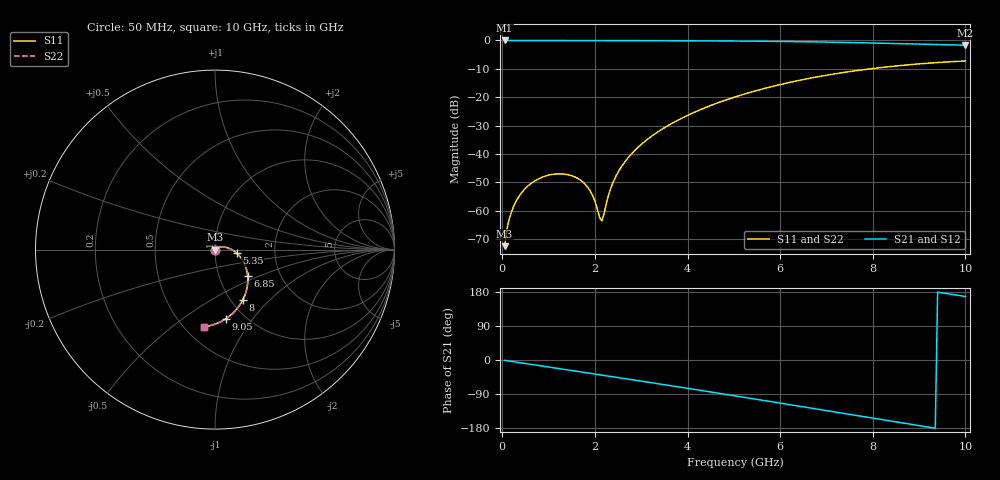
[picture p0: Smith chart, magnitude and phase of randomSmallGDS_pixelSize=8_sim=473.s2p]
! freq	dB(S11)	phase(S11)	dB(S12)	phase(S12)
!  dB(S21)	phase(S21)	dB(S22)	phase(S22)
!S-par simulation data
#  GHz  S  DB  R 50
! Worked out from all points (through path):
!   200 points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, 50 MHz to 10 GHz, reference 50 ohm
!   highest |S21| = 0.00 dB at 50 MHz (marker M1); lowest = -1.7 dB at 10 GHz (marker M2)
!   group delay of S21, straight-line fit = 53.8 ps
!   lowest |S11| = -72.5 dB at 50 MHz (marker M3), VSWR 1.00, Z = 50 - j0.0232 ohm
!   |S11| at or under -10 dB: start of sweep to 7.944 GHz
!   |S22| runs from -72.5 to -7.2 dB; largest |S21 - S12| = 0
!   S11 on the Smith chart (normalised r, x): 50 MHz: 1.00, -0.00; 5.35 GHz: 1.27, -0.05; 6.85 GHz: 1.37, -0.42; 8 GHz: 1.13, -0.71; 9.05 GHz: 0.82, -0.75; 10 GHz: 0.62, -0.65
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0.05  -72.49 -78.2  -0.00 -0.9  -0.00 -0.9  -72.50 -78.1
0.1  -66.52 -83.5  -0.00 -1.9  -0.00 -1.9  -66.52 -83.4
0.15  -62.91 -85.4  -0.00 -2.8  -0.00 -2.8  -62.91 -85.3
0.25  -58.27 -87.9  -0.00 -4.7  -0.00 -4.7  -58.26 -87.8
0.6  -50.65 -97.0  -0.01 -11.2  -0.01 -11.2  -50.65 -96.9
1.2  -47.01 -112.2  -0.03 -22.2  -0.03 -22.2  -47.01 -112.0
1.75  -50.03 -128.5  -0.04 -32.4  -0.04 -32.4  -50.03 -128.1
1.95  -54.61 -141.0  -0.04 -36.1  -0.04 -36.1  -54.62 -140.1
2.15  -63.62 136.6  -0.05 -39.8  -0.05 -39.8  -64.04 137.1
2.35  -51.72 63.4  -0.05 -43.5  -0.05 -43.5  -51.77 62.7
2.55  -45.07 52.0  -0.06 -47.3  -0.06 -47.3  -45.09 51.6
2.9  -38.14 41.6  -0.07 -53.8  -0.07 -53.8  -38.15 41.3
3.4  -31.77 30.3  -0.08 -63.3  -0.08 -63.3  -31.78 30.1
4.15  -25.28 14.9  -0.12 -77.6  -0.12 -77.6  -25.28 14.8
5.05  -19.78 -2.9  -0.20 -95.0  -0.20 -95.0  -19.78 -3.0
5.35  -18.30 -8.9  -0.23 -100.9  -0.23 -100.9  -18.30 -8.9
6.7  -13.13 -35.6  -0.49 -127.7  -0.49 -127.7  -13.13 -35.7
6.85  -12.68 -38.5  -0.53 -130.7  -0.53 -130.7  -12.68 -38.6
8  -9.89 -61.0  -0.89 -153.6  -0.89 -153.6  -9.89 -61.1
8.35  -9.24 -67.7  -1.02 -160.5  -1.02 -160.5  -9.24 -67.8
9.05  -8.19 -80.9  -1.30 -174.2  -1.30 -174.2  -8.19 -81.0
10  -7.23 -98.3  -1.67 167.6  -1.67 167.6  -7.23 -98.4
